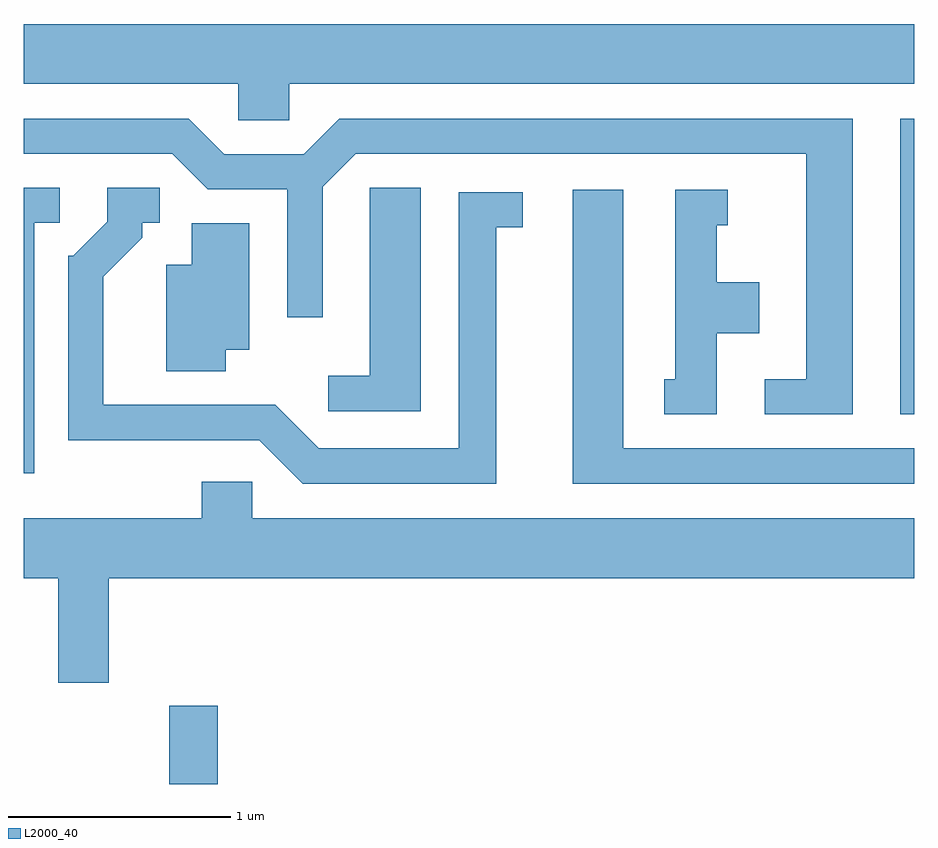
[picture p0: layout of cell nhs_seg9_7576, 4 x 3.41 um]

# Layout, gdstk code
import gdstk
lib = gdstk.Library(unit=1e-6, precision=1e-09)
def R(c, l, rs):  # rectangles x0, y0, x1, y1
    for r in rs: c.add(gdstk.rectangle(r[:2], r[2:], *l))
def P(c, l, *ps):  # polygons
    for p in ps: c.add(gdstk.Polygon(p, *l))
L2000_40 = (2000, 40)

nhs_seg9_7576 = lib.new_cell('nhs_seg9_7576')
R(nhs_seg9_7576, L2000_40, [(410.266,2006.432,410.484,2006.784), (413.546,2008.091,413.611,2009.419)])
P(nhs_seg9_7576, L2000_40, [(410.804,2009.576),(413.611,2009.576),(413.611,2009.844),(409.611,2009.844),(409.611,2009.576),(410.576,2009.576),(410.576,2009.411),(410.804,2009.411)],
  [(413.334,2009.419),(411.029,2009.419),(410.869,2009.259),(410.512,2009.259),(410.352,2009.419),(409.611,2009.419),(409.611,2009.261),(410.279,2009.261),(410.439,2009.101),(410.796,2009.101),(410.796,2008.528),(410.954,2008.528),(410.954,2009.114),(411.102,2009.261),(413.126,2009.261),(413.126,2008.249),(412.938,2008.249),(412.938,2008.091),(413.334,2008.091)],
  [(411.734,2008.931),(411.853,2008.931),(411.853,2009.089),(411.566,2009.089),(411.566,2007.939),(410.937,2007.939),(410.742,2008.134),(409.969,2008.134),(409.969,2008.709),(410.144,2008.884),(410.144,2008.951),(410.223,2008.951),(410.223,2009.109),(409.986,2009.109),(409.986,2008.957),(409.834,2008.804),(409.811,2008.804),(409.811,2007.976),(410.669,2007.976),(410.864,2007.781),(411.734,2007.781)],
  [(409.659,2008.951),(409.773,2008.951),(409.773,2009.109),(409.611,2009.109),(409.611,2007.826),(409.659,2007.826)],
  [(411.394,2009.109),(411.166,2009.109),(411.166,2008.264),(410.978,2008.264),(410.978,2008.106),(411.394,2008.106)],
  [(413.611,2007.939),(412.304,2007.939),(412.304,2009.099),(412.076,2009.099),(412.076,2007.781),(413.611,2007.781)],
  [(412.724,2008.456),(412.914,2008.456),(412.914,2008.684),(412.724,2008.684),(412.724,2008.941),(412.773,2008.941),(412.773,2009.099),(412.536,2009.099),(412.536,2008.249),(412.488,2008.249),(412.488,2008.091),(412.724,2008.091)],
  [(410.519,2008.381),(410.624,2008.381),(410.624,2008.949),(410.366,2008.949),(410.366,2008.764),(410.251,2008.764),(410.251,2008.286),(410.519,2008.286)],
  [(409.994,2007.356),(413.611,2007.356),(413.611,2007.624),(410.639,2007.624),(410.639,2007.789),(410.411,2007.789),(410.411,2007.624),(409.611,2007.624),(409.611,2007.356),(409.766,2007.356),(409.766,2006.886),(409.994,2006.886)])

lib.write_gds('nhs_seg9_7576.gds')
